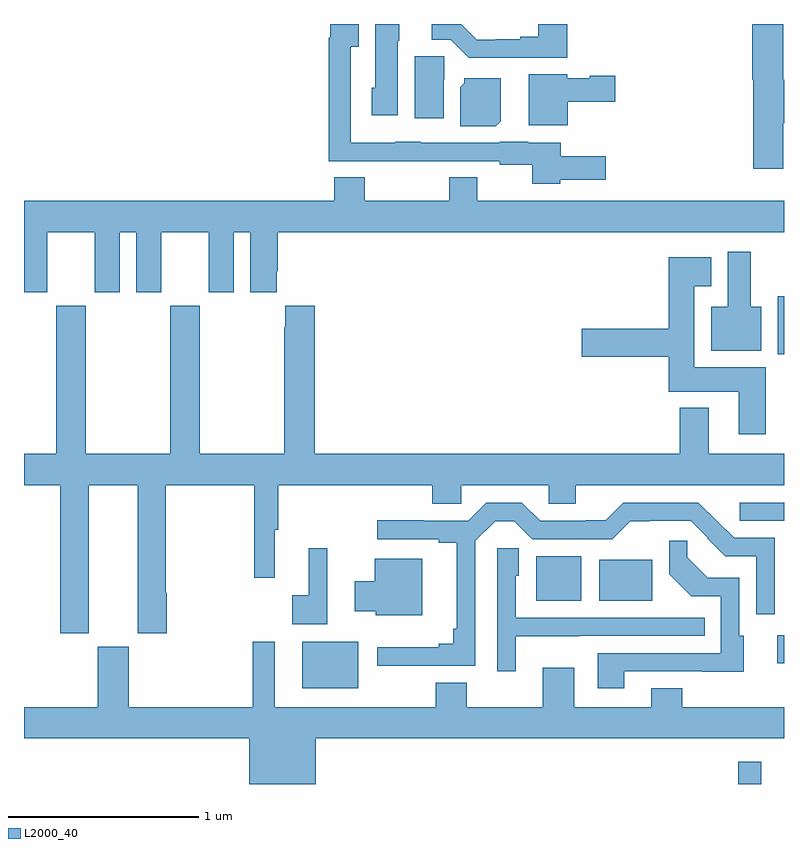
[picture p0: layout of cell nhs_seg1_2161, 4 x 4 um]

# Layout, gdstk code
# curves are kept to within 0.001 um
import gdstk
lib = gdstk.Library(unit=1e-6, precision=1e-09)
def R(c, l, rs):  # rectangles x0, y0, x1, y1
    for r in rs: c.add(gdstk.rectangle(r[:2], r[2:], *l))
def P(c, l, *ps):  # polygons
    for p in ps: c.add(gdstk.Polygon(p, *l))
L2000_40 = (2000, 40)

nhs_seg1_2161 = lib.new_cell('nhs_seg1_2161')
R(nhs_seg1_2161, L2000_40, [(232.758,510.199,232.879,510.316), (230.465,510.704,230.758,510.949), (232.965,510.834,233,510.982), (231.695,511.163,231.934,511.399), (232.028,511.163,232.306,511.378), (232.767,511.584,233,511.68), (232.967,512.462,233,512.767)])
P(nhs_seg1_2161, L2000_40, [(230.968,514.11),(230.974,514.11),(230.974,514.199),(230.849,514.199),(230.849,513.864),(230.831,513.864),(230.831,513.72),(230.968,513.72)],
  [(232.996,513.676),(233,513.676),(233,513.906),(232.996,513.906),(232.996,514.199),(232.832,514.199),(232.832,513.906),(232.838,513.906),(232.838,513.438),(232.996,513.438)],
  [(231.822,513.38),(232.063,513.38),(232.063,513.502),(231.826,513.502),(231.826,513.574),(231.654,513.574),(231.654,513.58),(231.504,513.58),(231.504,513.573),(231.087,513.573),(231.087,513.58),(230.955,513.58),(230.955,513.574),(230.721,513.574),(230.721,514.079),(230.761,514.079),(230.761,514.199),(230.613,514.199),(230.613,514.127),(230.605,514.127),(230.605,513.477),(230.855,513.477),(230.855,513.476),(231.087,513.476),(231.087,513.477),(231.504,513.477),(231.504,513.458),(231.674,513.458),(231.674,513.359),(231.822,513.359)],
  [(231.86,514.199),(231.707,514.199),(231.707,514.132),(231.611,514.132),(231.611,514.119),(231.484,514.119),(231.484,514.116),(231.384,514.116),(231.302,514.199),(231.147,514.199),(231.147,514.116),(231.246,514.116),(231.34,514.022),(231.86,514.022)],
  [(231.208,513.906),(231.212,513.906),(231.212,514.029),(231.056,514.029),(231.056,513.702),(231.208,513.702)],
  [(231.862,513.791),(232.111,513.791),(232.111,513.926),(231.978,513.926),(231.978,513.913),(231.858,513.913),(231.858,513.934),(231.656,513.934),(231.656,513.665),(231.862,513.665)],
  [(231.508,513.688),(231.508,513.913),(231.318,513.913),(231.318,513.888),(231.296,513.866),(231.296,513.662),(231.482,513.662)],
  [(229.123,513.104),(229.373,513.104),(229.373,512.787),(229.504,512.787),(229.504,513.104),(229.592,513.104),(229.592,512.787),(229.723,512.787),(229.723,513.104),(229.973,513.104),(229.973,512.787),(230.104,512.787),(230.104,513.104),(230.192,513.104),(230.192,512.787),(230.329,512.787),(230.329,512.899),(230.336,512.899),(230.336,513.104),(233,513.104),(233,513.268),(231.385,513.268),(231.385,513.392),(231.238,513.392),(231.238,513.268),(230.793,513.268),(230.793,513.392),(230.633,513.392),(230.633,513.268),(229,513.268),(229,512.787),(229.123,512.787)],
  [(232.879,512.71),(232.825,512.71),(232.825,513.001),(232.703,513.001),(232.703,512.71),(232.616,512.71),(232.616,512.48),(232.879,512.48)],
  [(232.903,512.392),(232.528,512.392),(232.528,512.819),(232.618,512.819),(232.618,512.971),(232.394,512.971),(232.394,512.594),(231.936,512.594),(231.936,512.447),(232.394,512.447),(232.394,512.264),(232.763,512.264),(232.763,512.04),(232.903,512.04)],
  [(229.342,511.772),(229.598,511.772),(229.598,510.993),(229.751,510.993),(229.751,511.205),(229.746,511.205),(229.746,511.772),(230.211,511.772),(230.211,511.284),(230.321,511.284),(230.321,511.536),(230.339,511.536),(230.339,511.772),(231.149,511.772),(231.149,511.674),(231.3,511.674),(231.3,511.772),(231.762,511.772),(231.762,511.674),(231.904,511.674),(231.904,511.772),(233,511.772),(233,511.936),(232.603,511.936),(232.603,512.179),(232.451,512.179),(232.451,511.936),(230.531,511.936),(230.531,512.716),(230.375,512.716),(230.375,512.603),(230.371,512.603),(230.371,511.936),(229.926,511.936),(229.926,512.716),(229.771,512.716),(229.771,511.936),(229.326,511.936),(229.326,512.716),(229.171,512.716),(229.171,511.936),(229,511.936),(229,511.772),(229.19,511.772),(229.19,510.993),(229.342,510.993)],
  [(231.071,510.822),(231.375,510.822),(231.375,511.479),(231.479,511.583),(231.58,511.583),(231.675,511.488),(232.095,511.488),(232.19,511.583),(232.509,511.584),(232.599,511.494),(232.597,511.492),(232.691,511.398),(232.854,511.398),(232.854,511.092),(232.95,511.092),(232.95,511.494),(232.737,511.494),(232.549,511.68),(232.155,511.68),(232.061,511.586),(231.956,511.586),(231.956,511.584),(231.717,511.584),(231.621,511.68),(231.434,511.68),(231.338,511.584),(231.105,511.584),(231.105,511.586),(230.859,511.586),(230.859,511.488),(231.182,511.488),(231.182,511.468),(231.278,511.468),(231.278,511.015),(231.259,511.015),(231.259,510.938),(231.182,510.938),(231.182,510.919),(230.859,510.919),(230.859,510.821)],
  [(232.159,510.792),(232.789,510.791),(232.789,510.978),(232.764,510.978),(232.764,511.284),(232.598,511.284),(232.49,511.392),(232.49,511.48),(232.395,511.48),(232.395,511.304),(232.511,511.188),(232.668,511.188),(232.668,510.888),(232.019,510.888),(232.019,510.702),(232.159,510.702)],
  [(230.596,511.441),(230.498,511.441),(230.498,511.193),(230.412,511.193),(230.412,511.04),(230.596,511.04)],
  [(231.589,510.977),(231.923,510.977),(231.923,510.978),(232.583,510.978),(232.583,511.074),(231.588,511.074),(231.588,511.296),(231.604,511.296),(231.604,511.439),(231.492,511.439),(231.492,510.792),(231.589,510.792)],
  [(231.097,511.384),(230.846,511.384),(230.846,511.267),(230.741,511.267),(230.741,511.109),(230.85,511.109),(230.85,511.088),(231.097,511.088)],
  [(230.536,510.44),(233,510.44),(233,510.604),(232.465,510.604),(232.465,510.703),(232.301,510.703),(232.301,510.604),(231.895,510.604),(231.895,510.811),(231.731,510.811),(231.731,510.604),(231.331,510.604),(231.331,510.733),(231.167,510.733),(231.167,510.604),(230.32,510.604),(230.32,510.949),(230.203,510.949),(230.203,510.604),(229.552,510.604),(229.552,510.921),(229.388,510.921),(229.388,510.604),(229,510.604),(229,510.44),(230.186,510.44),(230.186,510.199),(230.536,510.199)])

lib.write_gds('nhs_seg1_2161.gds')
